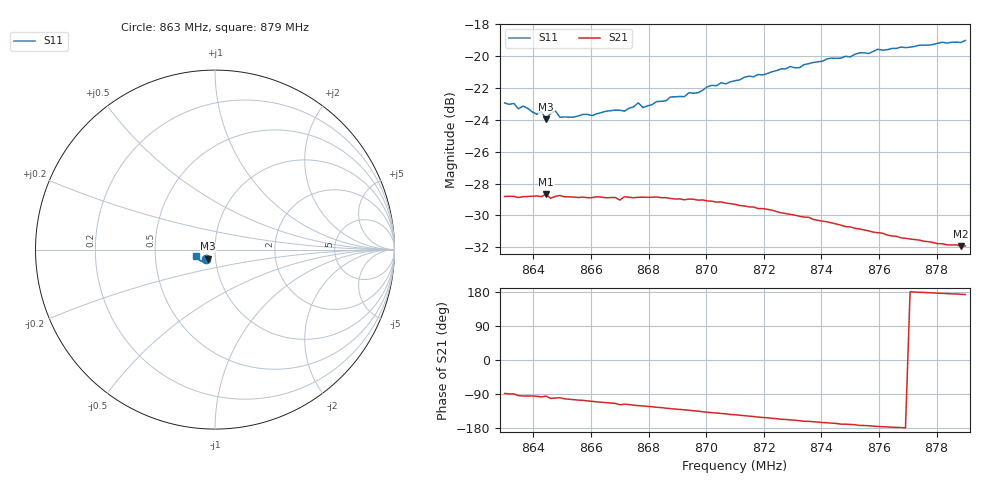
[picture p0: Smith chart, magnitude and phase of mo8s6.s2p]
# HZ S RI R 50
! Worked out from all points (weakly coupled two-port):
!   101 points, 863 MHz to 879 MHz, reference 50 ohm
!   highest |S21| = -28.68 dB at 864.44 MHz (marker M1); lowest = -31.9 dB at 878.84 MHz (marker M2)
!   lowest |S11| = -24.0 dB at 864.44 MHz (marker M3), VSWR 1.14, Z = 46.1 - j4.67 ohm
!   |S11| at or under -10 dB: start of sweep to end of sweep
!   S12 and S22 are empty: the file has one direction only
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8.63e8  -0.0495 -0.0512  0.00104 -0.0362  0 0  0 0
8.6332e8  -0.0497 -0.0506  0.00039 -0.0363  0 0  0 0
8.6348e8  -0.0466 -0.0499  -0.00246 -0.0359  0 0  0 0
8.6364e8  -0.0472 -0.0512  -0.00316 -0.0361  0 0  0 0
8.6412e8  -0.0427 -0.0499  -0.00367 -0.0362  0 0  0 0
8.6428e8  -0.0434 -0.0509  -0.00468 -0.0359  0 0  0 0
8.6444e8  -0.0382 -0.0504  -0.0034 -0.0367  0 0  0 0
8.646e8  -0.0421 -0.0509  -0.00709 -0.0351  0 0  0 0
8.6476e8  -0.044 -0.0509  -0.00646 -0.0357  0 0  0 0
8.6492e8  -0.0387 -0.0513  -0.00604 -0.036  0 0  0 0
8.6572e8  -0.0382 -0.0533  -0.0102 -0.0346  0 0  0 0
8.6604e8  -0.0377 -0.053  -0.0118 -0.034  0 0  0 0
8.67e8  -0.0378 -0.0561  -0.0167 -0.0311  0 0  0 0
8.6716e8  -0.0361 -0.0566  -0.0161 -0.0324  0 0  0 0
8.6764e8  -0.0394 -0.0594  -0.0182 -0.0311  0 0  0 0
8.678e8  -0.0375 -0.0578  -0.0187 -0.0308  0 0  0 0
8.6844e8  -0.0393 -0.0605  -0.0209 -0.0292  0 0  0 0
8.71e8  -0.0497 -0.0673  -0.0278 -0.02  0 0  0 0
8.7372e8  -0.0672 -0.0677  -0.0294 -0.00901  0 0  0 0
8.7644e8  -0.0898 -0.0556  -0.0272 -0.00125  0 0  0 0
8.7884e8  -0.1044 -0.0354  -0.0252 0.00291  0 0  0 0
8.79e8  -0.1067 -0.0337  -0.0252 0.00319  0 0  0 0
